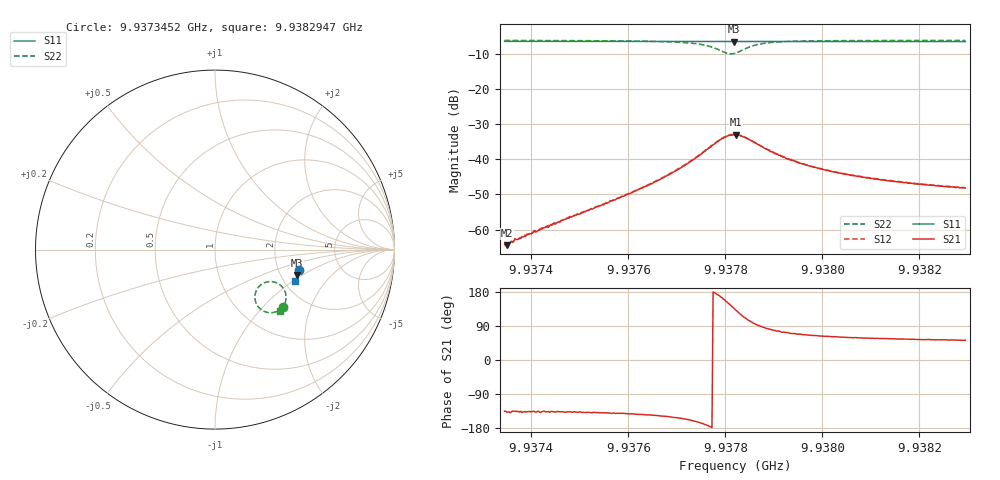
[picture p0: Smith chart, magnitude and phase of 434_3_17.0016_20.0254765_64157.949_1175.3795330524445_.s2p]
#  HZ  S  RI  R  50.00
! Rohde & Schwarz Vector Network Analyzer
! Rohde-Schwarz,ZNB20-2Port,1311601062101988,3.16
! Created: UTC 3/20/2024, 11:11:35 PM
! freq[Hz]  re:S11  im:S11  re:S21  im:S21  re:S12  im:S12  re:S22  im:S22
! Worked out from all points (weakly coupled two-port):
!   401 points, 9.9373452 GHz to 9.9382947 GHz, reference 50 ohm
!   highest |S21| = -32.96 dB at 9.9378223 GHz (marker M1); lowest = -64.5 dB at 9.93735 GHz (marker M2)
!   lowest |S11| = -6.4 dB at 9.9378176 GHz (marker M3), VSWR 2.84, Z = 123 - j44.9 ohm
!   |S11| at or under -10 dB: nowhere
!   |S22| runs from -9.9 to -6.1 dB; largest |S21 - S12| = 0.001
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9.93734523e9  0.4704 -0.1116  -0.000436 -0.000435  -0.000421 -0.000398  0.3814 -0.3197
9.93734998e9  0.4702 -0.1118  -0.000445 -0.000399  -0.000456 -0.000434  0.3809 -0.32
9.93736184e9  0.4701 -0.1126  -0.00046 -0.000466  -0.000479 -0.000468  0.3798 -0.321
9.93742356e9  0.4686 -0.1168  -0.000744 -0.00072  -0.000776 -0.000719  0.3746 -0.3257
9.93750426e9  0.4668 -0.1222  -0.00128 -0.00114  -0.00132 -0.00116  0.3661 -0.3323
9.93759208e9  0.4649 -0.1281  -0.00233 -0.00191  -0.00242 -0.00188  0.3523 -0.341
9.93766329e9  0.4631 -0.133  -0.00427 -0.00275  -0.00441 -0.00273  0.3324 -0.3488
9.93771551e9  0.4615 -0.1364  -0.00739 -0.00339  -0.00761 -0.00333  0.3043 -0.3514
9.9377606e9  0.4597 -0.1393  -0.0135 -0.00207  -0.0137 -0.00181  0.257 -0.3346
9.93779383e9  0.4582 -0.1406  -0.019 0.00555  -0.0193 0.00627  0.2224 -0.267
9.9378057e9  0.4578 -0.141  -0.019 0.0107  -0.0189 0.0113  0.2305 -0.2279
9.93781757e9  0.4575 -0.1409  -0.0162 0.0155  -0.0161 0.0161  0.2583 -0.1944
9.93781994e9  0.4575 -0.141  -0.0155 0.0162  -0.0152 0.0171  0.2658 -0.1897
9.93782232e9  0.4575 -0.1412  -0.0147 0.017  -0.0144 0.0177  0.2733 -0.1857
9.93784843e9  0.458 -0.1424  -0.00471 0.0187  -0.00428 0.019  0.3512 -0.1891
9.93787216e9  0.4583 -0.1442  0.000316 0.0157  0.000671 0.0157  0.3843 -0.2214
9.93789827e9  0.4579 -0.1461  0.00241 0.0123  0.00266 0.0124  0.3951 -0.2511
9.93792913e9  0.4573 -0.1485  0.0031 0.00969  0.00339 0.00963  0.3957 -0.2747
9.93797897e9  0.4561 -0.1519  0.00331 0.00714  0.0035 0.00715  0.3907 -0.2969
9.93804069e9  0.4545 -0.156  0.00311 0.00544  0.00324 0.00542  0.3838 -0.3123
9.938138e9  0.452 -0.1625  0.00274 0.00408  0.00288 0.00412  0.374 -0.3267
9.93829466e9  0.4475 -0.1725  0.00241 0.00308  0.00249 0.00305  0.3614 -0.3414
